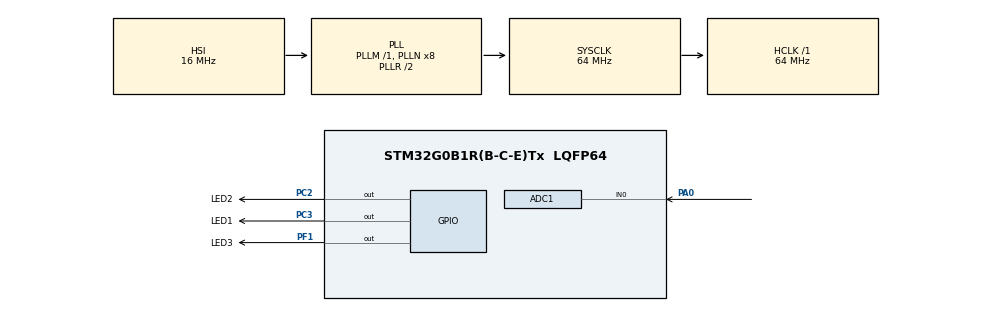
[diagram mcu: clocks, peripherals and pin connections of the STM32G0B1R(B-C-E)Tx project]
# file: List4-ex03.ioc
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ADC1.Channel-0\#ChannelRegularConversion=ADC_CHANNEL_0
ADC1.NbrOfConversionFlag=1
ADC1.Rank-0\#ChannelRegularConversion=1
ADC1.SamplingTime-0\#ChannelRegularConversion=ADC_SAMPLINGTIME_COMMON_1
ADC1.SamplingTimeCommon1=ADC_SAMPLETIME_39CYCLES_5
ADC1.SamplingTimeCommon2=ADC_SAMPLETIME_39CYCLES_5
ADC1.SelectedChannel=ADC_CHANNEL_0
ADC1.master=1
Mcu.Family=STM32G0
Mcu.Name=STM32G0B1R(B-C-E)Tx
Mcu.Package=LQFP64
PA0.Mode=IN0
PA0.Signal=ADC1_IN0
PA13.Mode=Serial_Wire
PA13.Signal=SYS_SWDIO
PA14-BOOT0.Mode=Serial_Wire
PA14-BOOT0.Signal=SYS_SWCLK
PC2.GPIO_Label=LED2
PC2.Signal=GPIO_Output
PC3.GPIO_Label=LED1
PC3.Signal=GPIO_Output
PF1-OSC_OUT\ (PF1).GPIO_Label=LED3
PF1-OSC_OUT\ (PF1).Signal=GPIO_Output
ProjectManager.HeapSize=0x200
ProjectManager.StackSize=0x400
ProjectManager.TargetToolchain=STM32CubeIDE
RCC.ADCFreq_Value=64000000
RCC.AHBFreq_Value=64000000
RCC.CortexFreq_Value=64000000
RCC.EXTERNAL_CLOCK_VALUE=48000
RCC.HCLKFreq_Value=64000000
RCC.HSE_VALUE=8000000
RCC.HSI48_VALUE=48000000
RCC.HSI_VALUE=16000000
RCC.LSE_VALUE=32768
RCC.SYSCLKFreq_VALUE=64000000
RCC.SYSCLKSource=RCC_SYSCLKSOURCE_PLLCLK
RCC.USBFreq_Value=48000000
RCC.VCOOutputFreq_Value=128000000
VP_SYS_VS_DBSignals.Mode=DisableDeadBatterySignals
board=custom

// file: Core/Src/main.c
/* USER CODE BEGIN Header */
/**
  ******************************************************************************
  * @file           : main.c
  * @brief          : Main program body
  ******************************************************************************
  * @attention
  *
  * Copyright (c) 2022 STMicroelectronics.
  * All rights reserved.
  *
  * This software is licensed under terms that can be found in the LICENSE file
  * in the root directory of this software component.
  * If no LICENSE file comes with this software, it is provided AS-IS.
  *
  ******************************************************************************
  */
/* USER CODE END Header */
#include "main.h"

ADC_HandleTypeDef hadc1;

void SystemClock_Config(void);
static void MX_GPIO_Init(void);
static void MX_ADC1_Init(void);

/* USER CODE BEGIN 0 */
uint16_t potenciometro;
float tensao;
/* USER CODE END 0 */

int main(void)
{

  /* MCU Configuration--------------------------------------------------------*/

  /* Reset of all peripherals, Initializes the Flash interface and the Systick. */
  HAL_Init();

  /* Configure the system clock */
  SystemClock_Config();

  /* Initialize all configured peripherals */
  MX_GPIO_Init();
  MX_ADC1_Init();

  /* Infinite loop */
  /* USER CODE BEGIN WHILE */
  while (1)
  {

	  HAL_ADC_Start(&hadc1);

	  HAL_ADC_PollForConversion(&hadc1, 100);

	  potenciometro = HAL_ADC_GetValue(&hadc1);

	  tensao = 3.3 / 4095.0 * potenciometro;

	  if(tensao <= 1.0){
		  HAL_GPIO_WritePin(LED1_GPIO_Port, LED1_Pin, 0);
	  } else{
		  HAL_GPIO_WritePin(LED1_GPIO_Port, LED1_Pin, 1);
	  }

	  if(tensao > 1.0 && tensao < 3.0){
		  HAL_GPIO_WritePin(LED2_GPIO_Port, LED2_Pin, 0);
	  } else{
		  HAL_GPIO_WritePin(LED2_GPIO_Port, LED2_Pin, 1);
	  }

	  if(tensao > 3.0){
		  HAL_GPIO_WritePin(LED3_GPIO_Port, LED3_Pin, 0);
	  } else{
		  HAL_GPIO_WritePin(LED3_GPIO_Port, LED3_Pin, 1);
	  }

    /* USER CODE END WHILE */

  }
}

void SystemClock_Config(void)
{
  RCC_OscInitTypeDef RCC_OscInitStruct = {0};
  RCC_ClkInitTypeDef RCC_ClkInitStruct = {0};

  /** Configure the main internal regulator output voltage
  */
  HAL_PWREx_ControlVoltageScaling(PWR_REGULATOR_VOLTAGE_SCALE1);
  /** Initializes the RCC Oscillators according to the specified parameters
  * in the RCC_OscInitTypeDef structure.
  */
  RCC_OscInitStruct.OscillatorType = RCC_OSCILLATORTYPE_HSI;
  RCC_OscInitStruct.HSIState = RCC_HSI_ON;
  RCC_OscInitStruct.HSIDiv = RCC_HSI_DIV1;
  RCC_OscInitStruct.HSICalibrationValue = RCC_HSICALIBRATION_DEFAULT;
  RCC_OscInitStruct.PLL.PLLState = RCC_PLL_ON;
  RCC_OscInitStruct.PLL.PLLSource = RCC_PLLSOURCE_HSI;
  RCC_OscInitStruct.PLL.PLLM = RCC_PLLM_DIV1;
  RCC_OscInitStruct.PLL.PLLN = 8;
  RCC_OscInitStruct.PLL.PLLP = RCC_PLLP_DIV2;
  RCC_OscInitStruct.PLL.PLLQ = RCC_PLLQ_DIV2;
  RCC_OscInitStruct.PLL.PLLR = RCC_PLLR_DIV2;
  if (HAL_RCC_OscConfig(&RCC_OscInitStruct) != HAL_OK)
  {
    Error_Handler();
  }
  /** Initializes the CPU, AHB and APB buses clocks
  */
  RCC_ClkInitStruct.ClockType = RCC_CLOCKTYPE_HCLK|RCC_CLOCKTYPE_SYSCLK
                              |RCC_CLOCKTYPE_PCLK1;
  RCC_ClkInitStruct.SYSCLKSource = RCC_SYSCLKSOURCE_PLLCLK;
  RCC_ClkInitStruct.AHBCLKDivider = RCC_SYSCLK_DIV1;
  RCC_ClkInitStruct.APB1CLKDivider = RCC_HCLK_DIV1;

  if (HAL_RCC_ClockConfig(&RCC_ClkInitStruct, FLASH_LATENCY_2) != HAL_OK)
  {
    Error_Handler();
  }
}

static void MX_ADC1_Init(void)
{

  ADC_ChannelConfTypeDef sConfig = {0};

  /** Configure the global features of the ADC (Clock, Resolution, Data Alignment and number of conversion)
  */
  hadc1.Instance = ADC1;
  hadc1.Init.ClockPrescaler = ADC_CLOCK_SYNC_PCLK_DIV2;
  hadc1.Init.Resolution = ADC_RESOLUTION_12B;
  hadc1.Init.DataAlign = ADC_DATAALIGN_RIGHT;
  hadc1.Init.ScanConvMode = ADC_SCAN_DISABLE;
  hadc1.Init.EOCSelection = ADC_EOC_SINGLE_CONV;
  hadc1.Init.LowPowerAutoWait = DISABLE;
  hadc1.Init.LowPowerAutoPowerOff = DISABLE;
  hadc1.Init.ContinuousConvMode = DISABLE;
  hadc1.Init.NbrOfConversion = 1;
  hadc1.Init.DiscontinuousConvMode = DISABLE;
  hadc1.Init.ExternalTrigConv = ADC_SOFTWARE_START;
  hadc1.Init.ExternalTrigConvEdge = ADC_EXTERNALTRIGCONVEDGE_NONE;
  hadc1.Init.DMAContinuousRequests = DISABLE;
  hadc1.Init.Overrun = ADC_OVR_DATA_PRESERVED;
  hadc1.Init.SamplingTimeCommon1 = ADC_SAMPLETIME_39CYCLES_5;
  hadc1.Init.SamplingTimeCommon2 = ADC_SAMPLETIME_39CYCLES_5;
  hadc1.Init.OversamplingMode = DISABLE;
  hadc1.Init.TriggerFrequencyMode = ADC_TRIGGER_FREQ_HIGH;
  if (HAL_ADC_Init(&hadc1) != HAL_OK)
  {
    Error_Handler();
  }
  /** Configure Regular Channel
  */
  sConfig.Channel = ADC_CHANNEL_0;
  sConfig.Rank = ADC_REGULAR_RANK_1;
  sConfig.SamplingTime = ADC_SAMPLINGTIME_COMMON_1;
  if (HAL_ADC_ConfigChannel(&hadc1, &sConfig) != HAL_OK)
  {
    Error_Handler();
  }

}

static void MX_GPIO_Init(void)
{
  GPIO_InitTypeDef GPIO_InitStruct = {0};

  /* GPIO Ports Clock Enable */
  __HAL_RCC_GPIOF_CLK_ENABLE();
  __HAL_RCC_GPIOC_CLK_ENABLE();
  __HAL_RCC_GPIOA_CLK_ENABLE();

  /*Configure GPIO pin Output Level */
  HAL_GPIO_WritePin(LED3_GPIO_Port, LED3_Pin, GPIO_PIN_RESET);

  /*Configure GPIO pin Output Level */
  HAL_GPIO_WritePin(GPIOC, LED2_Pin|LED1_Pin, GPIO_PIN_RESET);

  /*Configure GPIO pin : LED3_Pin */
  GPIO_InitStruct.Pin = LED3_Pin;
  GPIO_InitStruct.Mode = GPIO_MODE_OUTPUT_PP;
  GPIO_InitStruct.Pull = GPIO_NOPULL;
  GPIO_InitStruct.Speed = GPIO_SPEED_FREQ_LOW;
  HAL_GPIO_Init(LED3_GPIO_Port, &GPIO_InitStruct);

  /*Configure GPIO pins : LED2_Pin LED1_Pin */
  GPIO_InitStruct.Pin = LED2_Pin|LED1_Pin;
  GPIO_InitStruct.Mode = GPIO_MODE_OUTPUT_PP;
  GPIO_InitStruct.Pull = GPIO_NOPULL;
  GPIO_InitStruct.Speed = GPIO_SPEED_FREQ_LOW;
  HAL_GPIO_Init(GPIOC, &GPIO_InitStruct);

}

void Error_Handler(void)
{
  __disable_irq();
  while (1)
  {
  }
}
